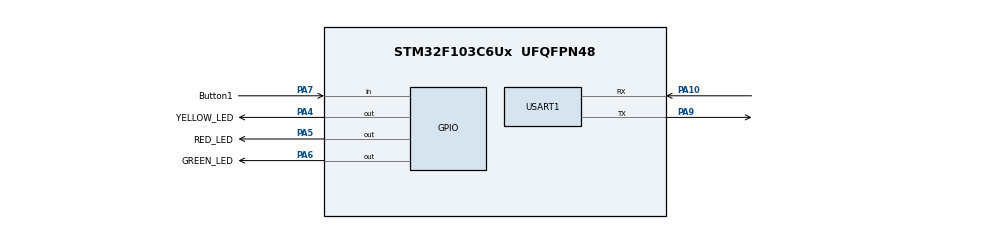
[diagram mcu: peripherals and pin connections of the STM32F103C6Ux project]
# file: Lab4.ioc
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Mcu.Family=STM32F1
Mcu.Name=STM32F103C6Ux
Mcu.Package=UFQFPN48
NVIC.PriorityGroup=NVIC_PRIORITYGROUP_4
NVIC.TIM2_IRQn=true\:2\:0\:true\:false\:true\:true\:true\:true
NVIC.USART1_IRQn=true\:0\:0\:false\:false\:true\:true\:true\:true
PA10.Mode=Asynchronous
PA10.Signal=USART1_RX
PA4.GPIO_Label=YELLOW_LED
PA4.Signal=GPIO_Output
PA5.GPIO_Label=RED_LED
PA5.Signal=GPIO_Output
PA6.GPIO_Label=GREEN_LED
PA6.Signal=GPIO_Output
PA7.GPIO_Label=Button1
PA7.GPIO_PuPd=GPIO_PULLUP
PA7.Signal=GPIO_Input
PA9.Mode=Asynchronous
PA9.Signal=USART1_TX
ProjectManager.HeapSize=0x200
ProjectManager.StackSize=0x400
ProjectManager.TargetToolchain=STM32CubeIDE
RCC.APB1Freq_Value=8000000
RCC.APB2Freq_Value=8000000
TIM2.Period=10
TIM2.Prescaler=7999
USART1.VirtualMode=VM_ASYNC
VP_TIM2_VS_ClockSourceINT.Mode=Internal
board=custom

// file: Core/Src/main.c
/* USER CODE BEGIN Header */
/**
  ******************************************************************************
  * @file           : main.c
  * @brief          : Main program body
  ******************************************************************************
  * @attention
  *
  * Copyright (c) 2022 STMicroelectronics.
  * All rights reserved.
  *
  * This software is licensed under terms that can be found in the LICENSE file
  * in the root directory of this software component.
  * If no LICENSE file comes with this software, it is provided AS-IS.
  *
  ******************************************************************************
  */
/* USER CODE END Header */
#include "main.h"

/* USER CODE BEGIN Includes */
#include "Tasks.h"
#include "button.h"
#include "scheduler.h"
#include "input_processing.h"
/* USER CODE END Includes */

TIM_HandleTypeDef htim2;

UART_HandleTypeDef huart1;

void SystemClock_Config(void);
static void MX_GPIO_Init(void);
static void MX_TIM2_Init(void);
static void MX_USART1_UART_Init(void);

int main(void)
{

  /* MCU Configuration--------------------------------------------------------*/

  /* Reset of all peripherals, Initializes the Flash interface and the Systick. */
  HAL_Init();

  /* Configure the system clock */
  SystemClock_Config();

  /* Initialize all configured peripherals */
  MX_GPIO_Init();
  MX_TIM2_Init();
  MX_USART1_UART_Init();
  /* USER CODE BEGIN 2 */
  HAL_TIM_Base_Start_IT(&htim2);
  BTN_INIT(Button1_GPIO_Port, Button1_Pin, 0); //Initialize for button 0

  SCH_Add_Task(&ToggleRedLed, 100, 500);
  SCH_Add_Task(&TurnOnGreenLed, 300, 0);
  SCH_Add_Task(&TurnOnYellowLed, 500, 0);

  SCH_Add_Task(&TurnOffAllLed, 0, 0);
  /* USER CODE END 2 */

  /* Infinite loop */
  /* USER CODE BEGIN WHILE */
  while (1)
  {
	  SCH_Dispatch(&huart1);
	  input_processing();
    /* USER CODE END WHILE */

  }
}

void SystemClock_Config(void)
{
  RCC_OscInitTypeDef RCC_OscInitStruct = {0};
  RCC_ClkInitTypeDef RCC_ClkInitStruct = {0};

  /** Initializes the RCC Oscillators according to the specified parameters
  * in the RCC_OscInitTypeDef structure.
  */
  RCC_OscInitStruct.OscillatorType = RCC_OSCILLATORTYPE_HSI;
  RCC_OscInitStruct.HSIState = RCC_HSI_ON;
  RCC_OscInitStruct.HSICalibrationValue = RCC_HSICALIBRATION_DEFAULT;
  RCC_OscInitStruct.PLL.PLLState = RCC_PLL_NONE;
  if (HAL_RCC_OscConfig(&RCC_OscInitStruct) != HAL_OK)
  {
    Error_Handler();
  }

  /** Initializes the CPU, AHB and APB buses clocks
  */
  RCC_ClkInitStruct.ClockType = RCC_CLOCKTYPE_HCLK|RCC_CLOCKTYPE_SYSCLK
                              |RCC_CLOCKTYPE_PCLK1|RCC_CLOCKTYPE_PCLK2;
  RCC_ClkInitStruct.SYSCLKSource = RCC_SYSCLKSOURCE_HSI;
  RCC_ClkInitStruct.AHBCLKDivider = RCC_SYSCLK_DIV1;
  RCC_ClkInitStruct.APB1CLKDivider = RCC_HCLK_DIV1;
  RCC_ClkInitStruct.APB2CLKDivider = RCC_HCLK_DIV1;

  if (HAL_RCC_ClockConfig(&RCC_ClkInitStruct, FLASH_LATENCY_0) != HAL_OK)
  {
    Error_Handler();
  }
}

static void MX_TIM2_Init(void)
{

  TIM_ClockConfigTypeDef sClockSourceConfig = {0};
  TIM_MasterConfigTypeDef sMasterConfig = {0};

  htim2.Instance = TIM2;
  htim2.Init.Prescaler = 7999;
  htim2.Init.CounterMode = TIM_COUNTERMODE_UP;
  htim2.Init.Period = 10;
  htim2.Init.ClockDivision = TIM_CLOCKDIVISION_DIV1;
  htim2.Init.AutoReloadPreload = TIM_AUTORELOAD_PRELOAD_DISABLE;
  if (HAL_TIM_Base_Init(&htim2) != HAL_OK)
  {
    Error_Handler();
  }
  sClockSourceConfig.ClockSource = TIM_CLOCKSOURCE_INTERNAL;
  if (HAL_TIM_ConfigClockSource(&htim2, &sClockSourceConfig) != HAL_OK)
  {
    Error_Handler();
  }
  sMasterConfig.MasterOutputTrigger = TIM_TRGO_RESET;
  sMasterConfig.MasterSlaveMode = TIM_MASTERSLAVEMODE_DISABLE;
  if (HAL_TIMEx_MasterConfigSynchronization(&htim2, &sMasterConfig) != HAL_OK)
  {
    Error_Handler();
  }

}

static void MX_USART1_UART_Init(void)
{

  huart1.Instance = USART1;
  huart1.Init.BaudRate = 115200;
  huart1.Init.WordLength = UART_WORDLENGTH_8B;
  huart1.Init.StopBits = UART_STOPBITS_1;
  huart1.Init.Parity = UART_PARITY_NONE;
  huart1.Init.Mode = UART_MODE_TX_RX;
  huart1.Init.HwFlowCtl = UART_HWCONTROL_NONE;
  huart1.Init.OverSampling = UART_OVERSAMPLING_16;
  if (HAL_UART_Init(&huart1) != HAL_OK)
  {
    Error_Handler();
  }

}

static void MX_GPIO_Init(void)
{
  GPIO_InitTypeDef GPIO_InitStruct = {0};

  /* GPIO Ports Clock Enable */
  __HAL_RCC_GPIOA_CLK_ENABLE();

  /*Configure GPIO pin Output Level */
  HAL_GPIO_WritePin(GPIOA, YELLOW_LED_Pin|RED_LED_Pin|GREEN_LED_Pin, GPIO_PIN_RESET);

  /*Configure GPIO pins : YELLOW_LED_Pin RED_LED_Pin GREEN_LED_Pin */
  GPIO_InitStruct.Pin = YELLOW_LED_Pin|RED_LED_Pin|GREEN_LED_Pin;
  GPIO_InitStruct.Mode = GPIO_MODE_OUTPUT_PP;
  GPIO_InitStruct.Pull = GPIO_NOPULL;
  GPIO_InitStruct.Speed = GPIO_SPEED_FREQ_LOW;
  HAL_GPIO_Init(GPIOA, &GPIO_InitStruct);

  /*Configure GPIO pin : Button1_Pin */
  GPIO_InitStruct.Pin = Button1_Pin;
  GPIO_InitStruct.Mode = GPIO_MODE_INPUT;
  GPIO_InitStruct.Pull = GPIO_PULLUP;
  HAL_GPIO_Init(Button1_GPIO_Port, &GPIO_InitStruct);

}

/* USER CODE BEGIN 4 */
void HAL_TIM_PeriodElapsedCallback(TIM_HandleTypeDef*htim){
	SCH_Update();
	button_reading(0);
}
/* USER CODE END 4 */

void Error_Handler(void)
{
  __disable_irq();
  while (1)
  {
  }
}
